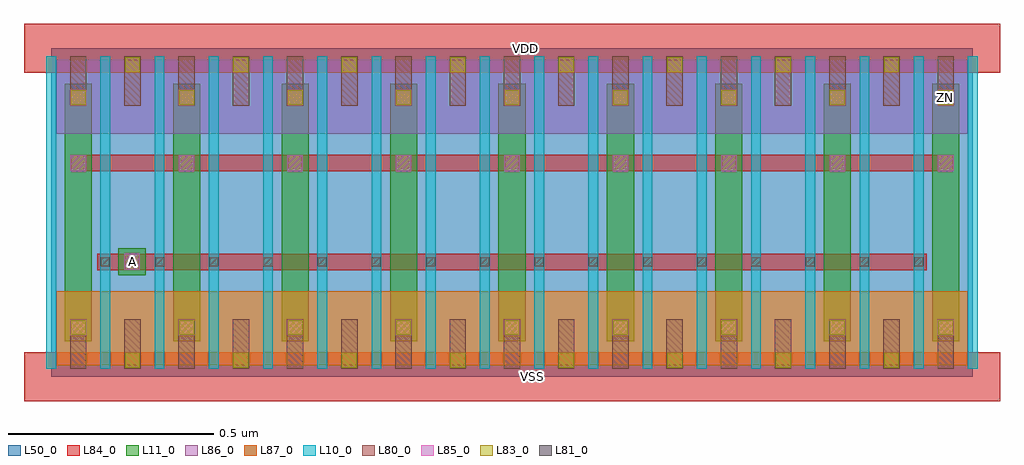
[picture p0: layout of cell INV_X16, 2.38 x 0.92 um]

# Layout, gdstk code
import gdstk
lib = gdstk.Library(unit=1e-6, precision=1e-09)
def R(c, l, rs):  # rectangles x0, y0, x1, y1
    for r in rs: c.add(gdstk.rectangle(r[:2], r[2:], *l))
def A(c, l, x, y, w, h, nx, ny, dx, dy):  # array of equal rectangles
    R(c, l, [(x+i*dx, y+j*dy, x+i*dx+w, y+j*dy+h) for i in range(nx) for j in range(ny)])
L10_0 = (10, 0)
L11_0 = (11, 0)
L50_0 = (50, 0)
L80_0 = (80, 0)
L81_0 = (81, 0)
L83_0 = (83, 0)
L84_0 = (84, 0)
L85_0 = (85, 0)
L86_0 = (86, 0)
L87_0 = (87, 0)

inv_x16 = lib.new_cell('INV_X16')
A(inv_x16, L10_0, -0.012, 0.02, 0.024, 0.76, 5, 1, 0.132, 0)
A(inv_x16, L10_0, 0.648, 0.02, 0.024, 0.76, 4, 1, 0.132, 0)
A(inv_x16, L10_0, 1.176, 0.02, 0.024, 0.76, 4, 1, 0.132, 0)
A(inv_x16, L10_0, 1.704, 0.02, 0.024, 0.76, 5, 1, 0.132, 0)
R(inv_x16, L10_0, [(0.516,0.02,0.54,0.78), (0.648,0.02,0.672,0.78), (1.044,0.02,1.068,0.78), (1.176,0.02,1.2,0.78), (1.572,0.02,1.596,0.78), (1.704,0.02,1.728,0.78)])
A(inv_x16, L11_0, 0.033, 0.087, 0.066, 0.626, 3, 1, 0.264, 0)
A(inv_x16, L11_0, 0.561, 0.087, 0.066, 0.626, 3, 1, 0.264, 0)
A(inv_x16, L11_0, 1.089, 0.087, 0.066, 0.626, 3, 1, 0.264, 0)
A(inv_x16, L11_0, 1.617, 0.087, 0.066, 0.626, 3, 1, 0.264, 0)
R(inv_x16, L11_0, [(0.164,0.247,0.23,0.313)])
R(inv_x16, L50_0, [(0,0,2.244,0.8)])
A(inv_x16, L80_0, 0.046, 0.02, 0.04, 0.12, 5, 2, 0.132, 0.64)
A(inv_x16, L80_0, 0.574, 0.02, 0.04, 0.12, 5, 2, 0.132, 0.64)
A(inv_x16, L80_0, 1.102, 0.02, 0.04, 0.12, 5, 2, 0.132, 0.64)
A(inv_x16, L80_0, 1.63, 0.02, 0.04, 0.12, 5, 2, 0.132, 0.64)
A(inv_x16, L81_0, 0.121, 0.269, 0.022, 0.022, 16, 1, 0.132, 0)
A(inv_x16, L83_0, 0.18, 0.022, 0.036, 0.036, 8, 2, 0.264, 0.72)
A(inv_x16, L83_0, 0.048, 0.102, 0.036, 0.036, 3, 2, 0.264, 0.56)
A(inv_x16, L83_0, 0.576, 0.102, 0.036, 0.036, 3, 2, 0.264, 0.56)
A(inv_x16, L83_0, 1.104, 0.102, 0.036, 0.036, 3, 2, 0.264, 0.56)
A(inv_x16, L83_0, 1.632, 0.102, 0.036, 0.036, 3, 2, 0.264, 0.56)
A(inv_x16, L84_0, -0.066, -0.06, 0.792, 0.12, 4, 2, 0.528, 0.8)
A(inv_x16, L84_0, 0.046, 0.1, 0.04, 0.04, 3, 2, 0.264, 0.56)
A(inv_x16, L84_0, 0.574, 0.1, 0.04, 0.04, 3, 2, 0.264, 0.56)
A(inv_x16, L84_0, 1.102, 0.1, 0.04, 0.04, 3, 2, 0.264, 0.56)
A(inv_x16, L84_0, 1.63, 0.1, 0.04, 0.04, 3, 2, 0.264, 0.56)
A(inv_x16, L84_0, 0.046, 0.5, 0.568, 0.04, 4, 1, 0.528, 0)
R(inv_x16, L84_0, [(0.112,0.26,0.482,0.3), (0.411,0.26,1.2,0.3), (1.168,0.26,1.538,0.3), (1.467,0.26,2.132,0.3)])
A(inv_x16, L85_0, 0.047, 0.101, 0.038, 0.038, 3, 2, 0.264, 0.4)
A(inv_x16, L85_0, 0.575, 0.101, 0.038, 0.038, 3, 2, 0.264, 0.4)
A(inv_x16, L85_0, 1.103, 0.101, 0.038, 0.038, 3, 2, 0.264, 0.4)
A(inv_x16, L85_0, 1.631, 0.101, 0.038, 0.038, 3, 2, 0.264, 0.4)
A(inv_x16, L85_0, 0.047, 0.661, 0.038, 0.038, 3, 1, 0.264, 0)
A(inv_x16, L85_0, 0.575, 0.661, 0.038, 0.038, 3, 1, 0.264, 0)
A(inv_x16, L85_0, 1.103, 0.661, 0.038, 0.038, 3, 1, 0.264, 0)
A(inv_x16, L85_0, 1.631, 0.661, 0.038, 0.038, 3, 1, 0.264, 0)
R(inv_x16, L85_0, [(0.178,0.261,0.216,0.299)])
A(inv_x16, L86_0, 0.012, 0.592, 0.636, 0.18, 4, 1, 0.528, 0)
A(inv_x16, L87_0, 0.012, 0.028, 0.636, 0.18, 4, 1, 0.528, 0)
inv_x16.add(gdstk.Label('VSS', (1.171,0), layer=88, texttype=0))
inv_x16.add(gdstk.Label('VDD', (1.155,0.8), layer=88, texttype=0))
inv_x16.add(gdstk.Label('ZN', (2.178,0.68), layer=31, texttype=0))
inv_x16.add(gdstk.Label('A', (0.197,0.28), layer=31, texttype=0))

lib.write_gds('INV_X16.gds')
